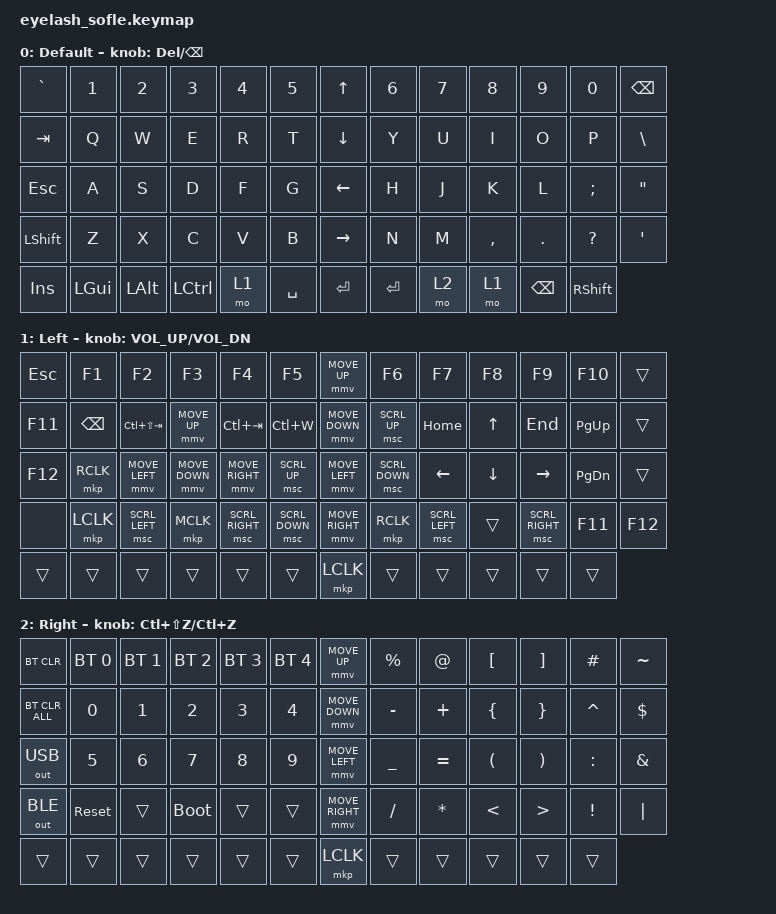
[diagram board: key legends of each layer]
#define ZMK_POINTING_DEFAULT_MOVE_VAL 1200  // 600
#define ZMK_POINTING_DEFAULT_SCRL_VAL 25   // 10

#include <input/processors.dtsi>
#include <zephyr/dt-bindings/input/input-event-codes.h>
#include <behaviors.dtsi>
#include <dt-bindings/zmk/bt.h>
#include <dt-bindings/zmk/keys.h>
#include <dt-bindings/zmk/outputs.h>
#include <dt-bindings/zmk/pointing.h>

&mmv_input_listener { input-processors = <&zip_xy_scaler 2 1>; };

&msc_input_listener { input-processors = <&zip_scroll_scaler 2 1>; };

&msc {
    acceleration-exponent = <1>;      // 0
    time-to-max-speed-ms = <100>;       // 300
    delay-ms = <0>;                   // 0
};

&mmv {
    time-to-max-speed-ms = <500>;
    acceleration-exponent = <1>;
    trigger-period-ms = <16>;
};

&soft_off { hold-time-ms = <2000>; };

/ {
    scroll_encoder: scroll_encoder {
        compatible = "zmk,behavior-sensor-rotate";
        #sensor-binding-cells = <0>;
        bindings = <&msc SCRL_DOWN>, <&msc SCRL_UP>;

        tap-ms = <100>;
    };

    behaviors {
    };

    combos {
        compatible = "zmk,combos";

        softoff {
            bindings = <&soft_off>;
            key-positions = <14 28 40>;
        };
    };

    macros {
        SHIFT_MCLK: SHIFT_MCLK {
            compatible = "zmk,behavior-macro";
            #binding-cells = <0>;
            bindings =
                <&macro_press>,
                <&kp LEFT_SHIFT>,
                <&macro_press>,
                <&mkp MB3>,
                <&macro_pause_for_release>,
                <&macro_release>,
                <&kp LEFT_SHIFT &mkp MB3>;

            label = "SHIFT_MCLK";
        };
    };

    keymap {
        compatible = "zmk,keymap";

        layer0 {
            display-name = "Default";
            bindings = <
&kp GRAVE   &kp N1    &kp N2    &kp N3     &kp N4  &kp N5       &kp UP_ARROW     &kp N6     &kp N7  &kp N8     &kp N9         &kp N0           &kp BACKSPACE
&kp TAB     &kp Q     &kp W     &kp E      &kp R   &kp T        &kp DOWN_ARROW   &kp Y      &kp U   &kp I      &kp O          &kp P            &kp BACKSLASH
&kp ESCAPE  &kp A     &kp S     &kp D      &kp F   &kp G        &kp LEFT_ARROW   &kp H      &kp J   &kp K      &kp L          &kp SEMI         &kp DOUBLE_QUOTES
&kp LSHIFT  &kp Z     &kp X     &kp C      &kp V   &kp B        &kp RIGHT_ARROW  &kp N      &kp M   &kp COMMA  &kp DOT        &kp QUESTION     &kp SINGLE_QUOTE
&kp INSERT  &kp LGUI  &kp LALT  &kp LCTRL  &mo 1   &kp SPACE    &kp ENTER        &kp ENTER  &mo 2   &mo 1      &kp BACKSPACE  &kp RIGHT_SHIFT
            >;

            sensor-bindings = <&inc_dec_kp DELETE BACKSPACE>;
        };

        layer_1 {
            bindings = <
&kp ESCAPE  &kp F1         &kp F2           &kp F3          &kp F4           &kp F5            &mmv MOVE_UP     &kp F6          &kp F7          &kp F8    &kp F9           &kp F10        &trans
&kp F11     &kp BACKSPACE  &kp LC(LS(TAB))  &mmv MOVE_UP    &kp LC(TAB)      &kp LC(W)         &mmv MOVE_DOWN   &msc SCRL_UP    &kp HOME        &kp UP    &kp END          &kp PG_UP      &trans
&kp F12     &mkp RCLK      &mmv MOVE_LEFT   &mmv MOVE_DOWN  &mmv MOVE_RIGHT  &msc SCRL_UP      &mmv MOVE_LEFT   &msc SCRL_DOWN  &kp LEFT        &kp DOWN  &kp RIGHT        &kp PAGE_DOWN  &trans
&none       &mkp LCLK      &msc SCRL_LEFT   &mkp MCLK       &msc SCRL_RIGHT  &msc SCRL_DOWN    &mmv MOVE_RIGHT  &mkp RCLK       &msc SCRL_LEFT  &trans    &msc SCRL_RIGHT  &kp F11        &kp F12
&trans      &trans         &trans           &trans          &trans           &trans            &mkp LCLK        &trans          &trans          &trans    &trans           &trans
            >;

            display-name = "Left";
            sensor-bindings = <&inc_dec_kp C_VOL_UP C_VOL_DN>;
        };

        layer_2 {
            bindings = <
&bt BT_CLR      &bt BT_SEL 0  &bt BT_SEL 1  &bt BT_SEL 2  &bt BT_SEL 3  &bt BT_SEL 4    &mmv MOVE_UP     &kp PERCENT     &kp AT_SIGN   &kp LEFT_BRACKET      &kp RIGHT_BRACKET      &kp HASH         &kp TILDE
&bt BT_CLR_ALL  &kp NUMBER_0  &kp NUMBER_1  &kp NUMBER_2  &kp NUMBER_3  &kp NUMBER_4    &mmv MOVE_DOWN   &kp MINUS       &kp PLUS      &kp LEFT_BRACE        &kp RIGHT_BRACE        &kp CARET        &kp DOLLAR
&out OUT_USB    &kp NUMBER_5  &kp NUMBER_6  &kp NUMBER_7  &kp NUMBER_8  &kp NUMBER_9    &mmv MOVE_LEFT   &kp UNDERSCORE  &kp EQUAL     &kp LEFT_PARENTHESIS  &kp RIGHT_PARENTHESIS  &kp COLON        &kp AMPERSAND
&out OUT_BLE    &sys_reset    &trans        &bootloader   &trans        &trans          &mmv MOVE_RIGHT  &kp SLASH       &kp ASTERISK  &kp LESS_THAN         &kp GREATER_THAN       &kp EXCLAMATION  &kp PIPE
&trans          &trans        &trans        &trans        &trans        &trans          &mkp LCLK        &trans          &trans        &trans                &trans                 &trans
            >;

            display-name = "Right";
            sensor-bindings = <&inc_dec_kp LC(LS(Z)) LC(Z)>;
        };
    };
};
